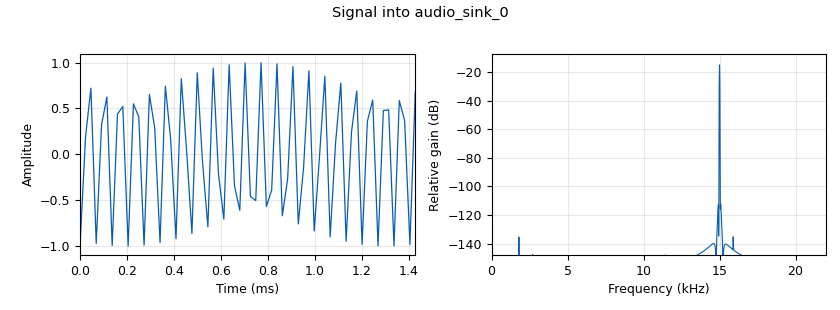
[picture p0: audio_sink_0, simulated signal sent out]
<?xml version='1.0' encoding='utf-8'?>
<?grc format='1' created='3.7.11'?>
<flow_graph>
<block>
<key>options</key>
<param><key>id</key><value>freq_test</value></param>
<param><key>generate_options</key><value>qt_gui</value></param>
</block>
<block>
<key>variable_qtgui_range</key>
<param><key>id</key><value>freq</value></param>
<param><key>value</key><value>15e3</value></param>
<param><key>orient</key><value>Qt.Horizontal</value></param>
<param><key>start</key><value>1000</value></param>
<param><key>step</key><value>100</value></param>
<param><key>stop</key><value>20e3</value></param>
</block>
<block>
<key>variable</key>
<param><key>id</key><value>samp_rate</value></param>
<param><key>value</key><value>44100</value></param>
</block>
<block>
<key>analog_sig_source_x</key>
<param><key>id</key><value>analog_sig_source_x_0</value></param>
<param><key>amp</key><value>1</value></param>
<param><key>freq</key><value>freq</value></param>
<param><key>offset</key><value>0</value></param>
<param><key>type</key><value>float</value></param>
<param><key>samp_rate</key><value>samp_rate</value></param>
<param><key>waveform</key><value>analog.GR_COS_WAVE</value></param>
</block>
<block>
<key>audio_sink</key>
<param><key>id</key><value>audio_sink_0</value></param>
<param><key>samp_rate</key><value>44100</value></param>
</block>
<connection><source_block_id>analog_sig_source_x_0</source_block_id><sink_block_id>audio_sink_0</sink_block_id><source_key>0</source_key><sink_key>0</sink_key></connection>
</flow_graph>
